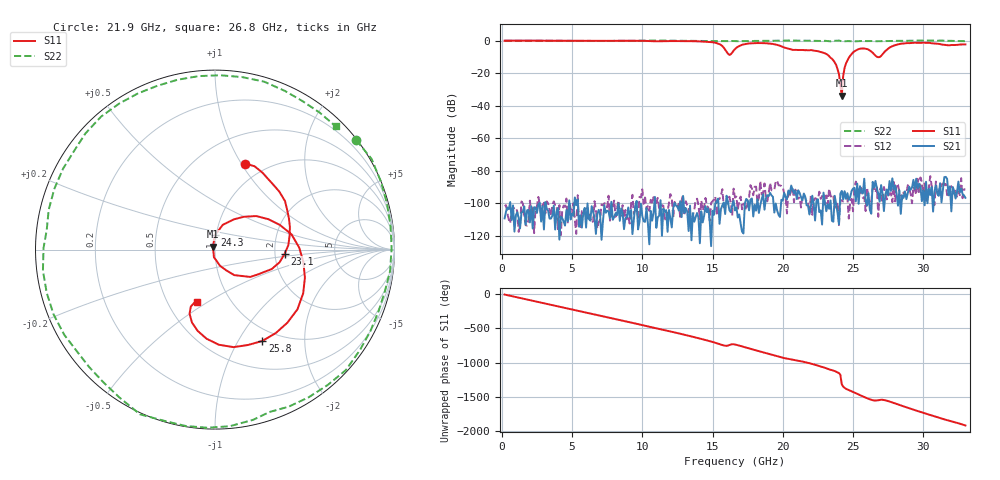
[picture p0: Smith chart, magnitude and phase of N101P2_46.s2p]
# GHZ S RI R 50
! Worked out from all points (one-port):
!   329 points, 200 MHz to 33 GHz, reference 50 ohm
!   lowest |S11| = -33.9 dB at 24.2 GHz (marker M1), VSWR 1.04, Z = 48.8 + j1.64 ohm
!   |S11| at or under -10 dB: 23.35 GHz to 24.75 GHz (1.398 GHz wide, 5.81 % of centre); 26.73 GHz to 26.92 GHz (185.9 MHz wide, 0.693 % of centre)
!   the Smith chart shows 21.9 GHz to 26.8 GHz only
!   S11 on the Smith chart (normalised r, x): 21.9 GHz: 0.80, +1.04; 23.1 GHz: 2.26, -0.13; 24.3 GHz: 0.99, +0.16; 25.8 GHz: 0.84, -1.27; 26.8 GHz: 0.70, -0.45
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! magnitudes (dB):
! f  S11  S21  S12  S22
! 200 MHz  0.0  -109.3  -101.7  0.0
! 5.7 GHz  -0.1  -115.0  -104.9  -0.2
! 11.2 GHz  -0.4  -107.7  -103.4  0.1
! 15.1 GHz  -1.1  -107.2  -97.7  -0.3
! 15.6 GHz  -2.6  -103.6  -95.2  -0.3
! 16.2 GHz  -8.7  -104.3  -96.0  -0.3
! 16.6 GHz  -5.2  -104.4  -96.6  -0.3
! 18.4 GHz  -1.5  -101.1  -86.4  -0.2
! 21.9 GHz  -5.9  -106.9  -106.1  0.0
! 22.1 GHz  -6.0  -95.4  -107.1  0.0
! 23.1 GHz  -8.2  -104.9  -95.2  -0.2
! 23.8 GHz  -15.0  -100.8  -102.0  0.0
! 24 GHz  -20.5  -112.9  -113.5  0.1
! 24.2 GHz  -33.9  -92.4  -98.2  -0.3
! 24.3 GHz  -21.7  -97.7  -99.0  -0.4
! 24.5 GHz  -14.0  -97.4  -95.2  -0.3
! 24.8 GHz  -9.3  -96.1  -99.0  -0.3
! 25.8 GHz  -4.8  -84.9  -96.3  -0.3
! 26.8 GHz  -10.2  -94.0  -108.3  -0.3
! 27.6 GHz  -4.3  -86.4  -93.9  -0.2
! 29.4 GHz  -1.3  -91.3  -91.8  -0.1
! 33 GHz  -2.3  -96.7  -91.6  -0.3
